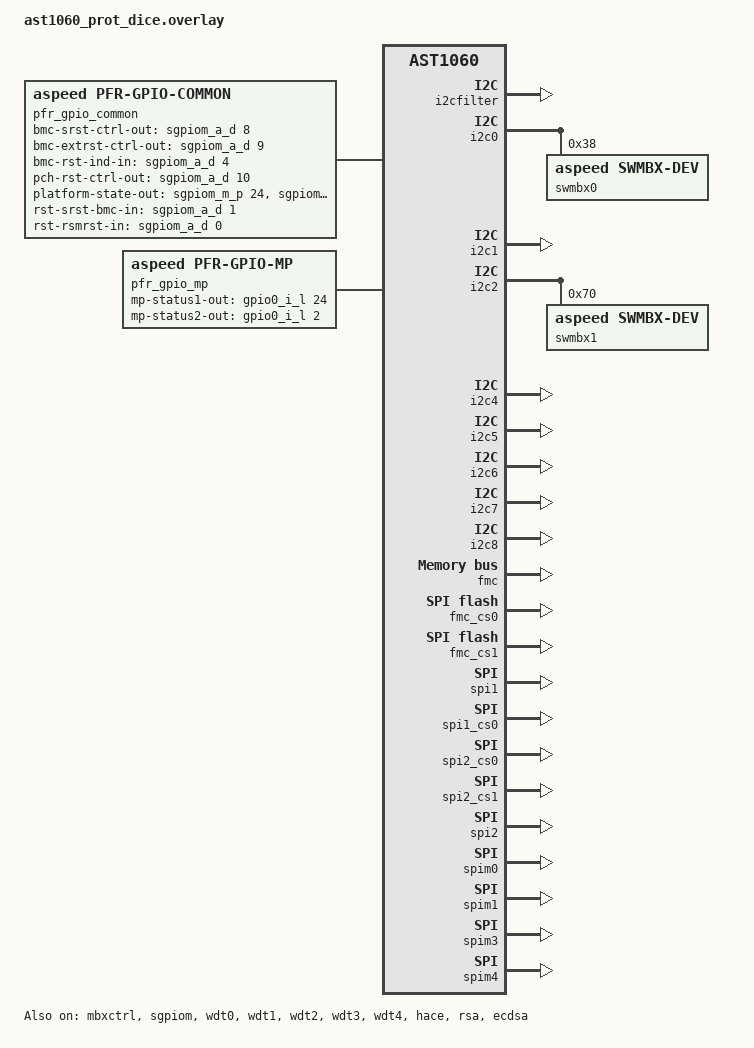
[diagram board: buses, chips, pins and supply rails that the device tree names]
#include <zephyr/dt-bindings/gpio/gpio.h>

&i2cfilter {
	status = "okay";
};

&mbxctrl {
	status = "okay";
};

&i2c0 {
	status = "okay";

	swmbx0: swmbx0@38 {
		compatible = "aspeed,swmbx-dev";
		reg = <0x38>;
		size = <256>;
		port = <0>;
		status = "okay";
	};
};

&i2c1 {
	status = "okay";
};

&i2c2 {
	status = "okay";

	swmbx1: swmbx1@70 {
		compatible = "aspeed,swmbx-dev";
		reg = <0x70>;
		size = <256>;
		port = <1>;
		status = "okay";
	};
};

&i2c4 {
	status = "okay";
};

&i2c5 {
	status = "okay";
};

&i2c6 {
	status = "okay";
};

&i2c7 {
	status = "okay";
};

// for i2c filter testing
&i2c8 {
	status = "okay";
};

&sgpiom {
	status = "okay";
	sgpiom_a_d {
		status = "okay";
	};
	sgpiom_e_h {
		status = "okay";
	};
	sgpiom_i_l {
		status = "okay";
	};
	sgpiom_m_p {
		status = "okay";
	};
};

/ {
	pfr_gpio_common {
		compatible = "aspeed,pfr-gpio-common";
		bmc-srst-ctrl-out-gpios = <&sgpiom_a_d 8 0>; /* SGPIO OUT #9 */
		bmc-extrst-ctrl-out-gpios = <&sgpiom_a_d 9 0>; /* SGPIO OUT #10 */
		bmc-rst-ind-in-gpios = <&sgpiom_a_d 4 0>; /* SGPIO IN #5 */
		pch-rst-ctrl-out-gpios = <&sgpiom_a_d 10 0>; /* SGPIO OUT #11 */

		platform-state-out-gpios =
			<&sgpiom_m_p 24 0>, <&sgpiom_m_p 25 0>,
			<&sgpiom_m_p 26 0>, <&sgpiom_m_p 27 0>,
			<&sgpiom_m_p 28 0>, <&sgpiom_m_p 29 0>,
			<&sgpiom_m_p 30 0>, <&sgpiom_m_p 31 0>;

		/* NOTICE:
		 * Normally, these two pin should be GPIO_ACTIVE_LOW, but currently this EVB
		 * doesn't produce correct power sequence by itself.
		 */
		rst-srst-bmc-in-gpios = <&sgpiom_a_d 1 GPIO_ACTIVE_HIGH>; /* SGPIO IN #2 */
		rst-rsmrst-in-gpios = <&sgpiom_a_d 0 GPIO_ACTIVE_HIGH>; /* SGPIO IN #1 */
	};

	pfr_gpio_mp {
		compatible = "aspeed,pfr-gpio-mp";
		mp-status1-out-gpios = <&gpio0_i_l 24 0>; /* GPIO_L0 */
		mp-status2-out-gpios = <&gpio0_i_l 2 0>;  /* GPIO_I2 */
	};
};

&wdt0 {
	status = "okay";
};

&wdt1 {
	status = "okay";
};

&wdt2 {
	status = "okay";
};

&wdt3 {
	status = "okay";
};

&wdt4 {
	status = "okay";
};

&fmc {
	status = "okay";
};

&fmc_cs0 {
	/delete-property/ broken-sfdp;
	/delete-property/ write-block-size;
	status = "okay";
	spi-max-buswidth = <4>;
	spi-max-frequency = <50000000>;
	partitions {
		compatible = "fixed-partitions";
		#address-cells = <1>;
		#size-cells = <1>;
		mcuboot_partition: partition@0 {
			label = "mcuboot";
			reg = <0x0 0x1c000>;
		};

		certificate_partition: partition@1c000 {
			label = "certificate";
			reg = <0x1c000 0x4000>;
		};


		active_partition: partition@20000 {
			label = "active";
			reg = <0x20000 0x60000>;
		};

		recovery_partition: partition@80000 {
			label = "recovery";
			reg = <0x80000 0x60000>;
		};

		otp_img_partition: partition@e0000 {
			label = "otp_img";
			reg = <0xe0000 0x1c000>;
		};
	};
};

&fmc_cs1 {
	status = "okay";
	spi-max-buswidth = <4>;
	spi-max-frequency = <50000000>;
};

&spi1 {
	num-cs = <1>;
	status = "okay";
};

/* "SPI1_CS0" is used to access flash connected to SPI_Monitor_1,
 * "SPI2_CS0" is used to access flash connected to SPI_Monitor_3,
 * "SPI2_CS1" is used to access flash connected to SPI_Monitor_4,
 */

&spi1_cs0 {
	spi-max-buswidth = <4>;
	spi-max-frequency = <50000000>;
	spi-monitor-ctrl = <&spim1>;
	status = "okay";
};

&spi2_cs0 {
	spi-max-buswidth = <1>;
	spi-max-frequency = <50000000>;
	spi-monitor-ctrl = <&spim3>;
	status = "okay";
};

&spi2_cs1 {
	spi-max-buswidth = <1>;
	spi-max-frequency = <50000000>;
	spi-monitor-ctrl = <&spim4>;
	status = "okay";
};

&spi2 {
	internal-mux-master = <2>;
	spi-monitor-output-base = <3>;
	spi-monitor-common-ctrl = <&spim0>;
	pinctrl-0 = <>;

	num-cs = <2>;
	status = "okay";

	spim-proprietary-config-enable;
};

&spim0 {
	status = "okay";
};

&spim1 {
	allow-cmds = [03 13 0b 0c 6b 6c 01 05 35 06 04 20 21 9f 5a b7 e9 32 34 d8 dc 02 12 3b 3c 70 bb bc 50 eb ec c2];
	log-ram-size = <0x200>;
	pinctrl-0 = <pinctrl_spim1_quad_default>;
	pinctrl-names = "default";
	ext-mux-sel = <1>;
	status = "okay";
};

&spim3 {
	allow-cmds = [03 13 0b 0c 6b 6c 01 05 35 06 04 20 21 9f 5a b7 e9 32 34 d8 dc 02 12 3b 3c 70 bb bc 50 eb ec c2];
	log-ram-size = <0x200>;
	pinctrl-0 = <&pin_spim3csin &pin_spim3clkin &pin_spim3mosiin &pin_spim3misoin
		&pin_spim3csout &pin_spim3io2in &pin_spim3io3in &pin_spim3clkout
		&pin_spim3misoout &pin_spim3mosiout &pin_spim3io2out &pin_spim3io3out
		&pin_spim3muxsel>;
	pinctrl-names = "default";
	ext-mux-sel = <1>;
	status = "okay";
};

&spim4 {
	allow-cmds = [03 13 0b 0c 6b 6c 01 05 35 06 04 20 21 9f 5a b7 e9 32 34 d8 dc 02 12 3b 3c 70 bb bc 50 eb ec c2];
	log-ram-size = <0x200>;
	pinctrl-0 = <&pin_spim4csin &pin_spim4clkin &pin_spim4mosiin &pin_spim4misoin
		&pin_spim4csout &pin_spim4io2in &pin_spim4io3in &pin_spim4clkout
		&pin_spim4misoout &pin_spim4mosiout &pin_spim4io2out &pin_spim4io3out
		&pin_spim4muxsel>;
	pinctrl-names = "default";
	ext-mux-sel = <1>;
	status = "okay";
};

&hace {
	status = "okay";
};

&rsa {
	status = "okay";
};

&ecdsa {
	status = "okay";
};
